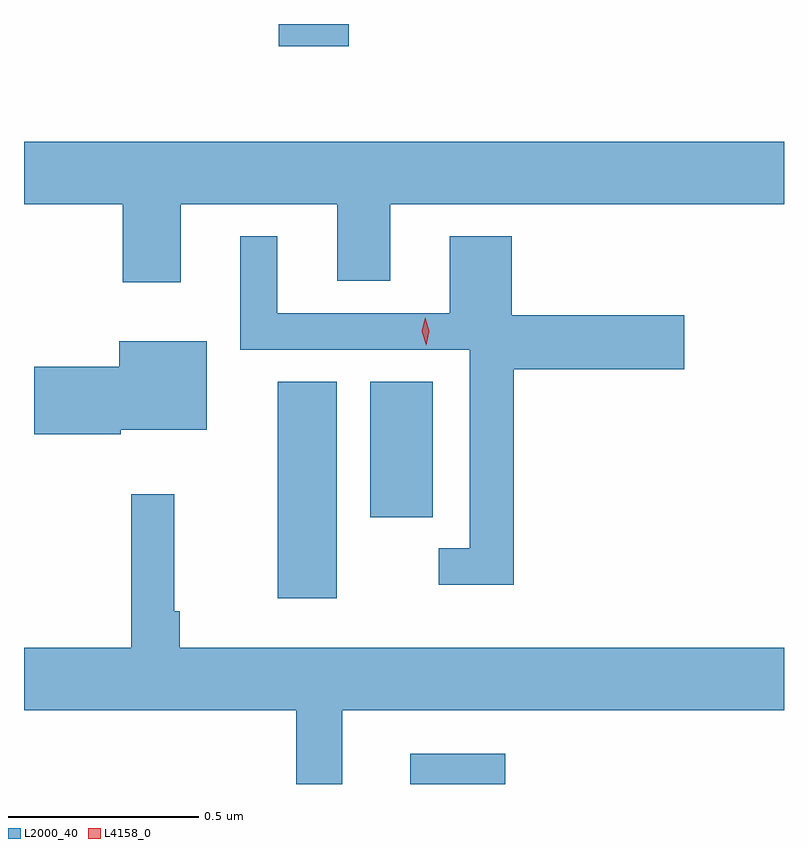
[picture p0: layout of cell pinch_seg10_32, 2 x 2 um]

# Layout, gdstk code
import gdstk
lib = gdstk.Library(unit=1e-6, precision=1e-09)
def R(c, l, rs):  # rectangles x0, y0, x1, y1
    for r in rs: c.add(gdstk.rectangle(r[:2], r[2:], *l))
def P(c, l, *ps):  # polygons
    for p in ps: c.add(gdstk.Polygon(p, *l))
L2000_40 = (2000, 40)
L4158_0 = (4158, 0)

pinch_seg10_32 = lib.new_cell('pinch_seg10_32')
R(pinch_seg10_32, L2000_40, [(924.917,1305.45,925.168,1305.529), (924.569,1305.939,924.724,1306.508), (924.812,1306.152,924.976,1306.508), (924.572,1307.391,924.755,1307.45)])
P(pinch_seg10_32, L2000_40, [(924.313,1306.976),(924.725,1306.976),(924.725,1306.774),(924.865,1306.774),(924.865,1306.976),(925.901,1306.976),(925.901,1307.14),(923.901,1307.14),(923.901,1306.976),(924.161,1306.976),(924.161,1306.77),(924.313,1306.77)],
  [(925.19,1306.541),(925.639,1306.541),(925.639,1306.683),(925.184,1306.683),(925.184,1306.891),(925.022,1306.891),(925.022,1306.689),(924.568,1306.689),(924.568,1306.891),(924.47,1306.891),(924.47,1306.593),(925.074,1306.593),(925.074,1306.071),(924.993,1306.071),(924.993,1305.974),(925.19,1305.974)],
  [(924.156,1306.382),(924.382,1306.382),(924.382,1306.615),(924.152,1306.615),(924.152,1306.548),(923.928,1306.548),(923.928,1306.37),(924.156,1306.37)],
  [(924.739,1305.644),(925.901,1305.644),(925.901,1305.808),(924.311,1305.808),(924.311,1305.904),(924.296,1305.904),(924.296,1306.213),(924.183,1306.213),(924.183,1305.808),(923.901,1305.808),(923.901,1305.644),(924.618,1305.644),(924.618,1305.45),(924.739,1305.45)])
P(pinch_seg10_32, L4158_0, [(924.96,1306.605),(924.96,1306.605),(924.948,1306.641),(924.957,1306.677),(924.957,1306.677),(924.957,1306.677),(924.968,1306.642),(924.96,1306.605)])

lib.write_gds('pinch_seg10_32.gds')
